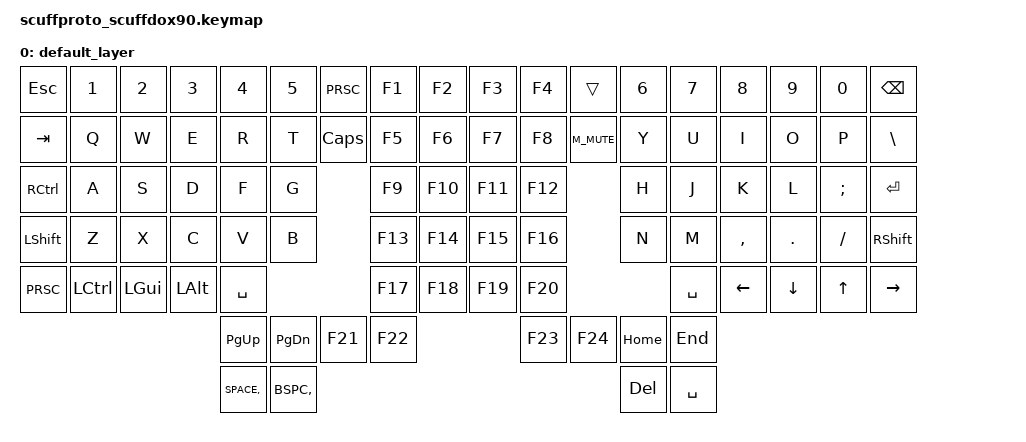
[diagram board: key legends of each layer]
/*
 * Copyright (c) 2020 The ZMK Contributors
 *
 * SPDX-License-Identifier: MIT
 */

#include <behaviors.dtsi>
#include <dt-bindings/zmk/keys.h>
#include <dt-bindings/zmk/bt.h>

/ {
	keymap {
		compatible = "zmk,keymap";
		default_layer {
			bindings = <
&kp ESC    &kp NUM_1  &kp NUM_2  &kp NUM_3  &kp NUM_4  &kp NUM_5  &kp PRSC		 &kp F1   &kp F2   &kp F3   &kp F4		 &trans     &kp NUM_6  &kp NUM_7  &kp NUM_8  &kp NUM_9  &kp NUM_0  &kp BSPC
&kp TAB    &kp Q      &kp W      &kp E      &kp R      &kp T      &kp CLCK		 &kp F5   &kp F6   &kp F7   &kp F8		 &kp M_MUTE &kp Y      &kp U      &kp I      &kp O      &kp P      &kp BSLH
&kp RCTRL  &kp A      &kp S      &kp D      &kp F      &kp G 		 		     &kp F9   &kp F10  &kp F11  &kp F12		            &kp H      &kp J      &kp K      &kp L      &kp SCLN   &kp RETURN
&kp LSHFT  &kp Z      &kp X      &kp C      &kp V      &kp B 		 		     &kp F13  &kp F14  &kp F15  &kp F16			  	    &kp N      &kp M      &kp CMMA   &kp DOT    &kp FSLH   &kp RSHFT
&kp PRSC   &kp LCTRL  &kp LGUI   &kp LALT   &kp SPACE 						     &kp F17  &kp F18  &kp F19  &kp F20			 			       &kp SPACE  &kp LEFT   &kp DOWN   &kp UP     &kp RIGHT
		 									&kp PG_UP  &kp PG_DN		         &kp F21  &kp F22  &kp F23  &kp F24			        &kp HOME  &kp END
											&kp SPACE, &kp BSPC, 													                &kp DEL &kp SPACE 	 
			>;
		};
	};
};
